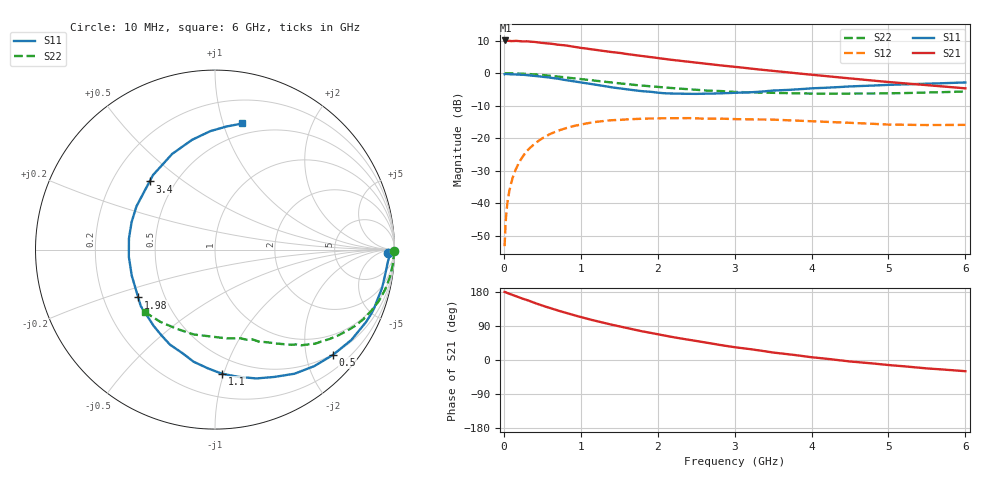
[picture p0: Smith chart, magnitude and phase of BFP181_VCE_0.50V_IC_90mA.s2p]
! Infineon Technologies  Discrete & RF Semiconductors
! BFP181
! VCE = 0.50V,  IC =  90 mA
! Common Emitter S-Parameters:  Jan 2016
# GHz  S  MA  R  50
!  f  S11  S21  S12  S22
! GHz  MAG  ANG  MAG  ANG  MAG  ANG  MAG  ANG
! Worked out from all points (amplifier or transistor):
!   210 points, 10 MHz to 6 GHz, reference 50 ohm
!   highest |S21| = 10.0 dB at 20 MHz (marker M1)
!   |S21| within 3 dB of that: start of sweep to 1.227 GHz
!   unconditionally stable (mu >= 1): 2.757 GHz to end of sweep
!   at 185 MHz: K = 0.08, MSG = 19.0 dB, |S12| = -28.1 dB
!   at 1.52 GHz: K = 0.59, MSG = 10.3 dB, |S12| = -14.3 dB
!   at 6 GHz: K = 1.56, MAG = 1.2 dB, |S12| = -15.9 dB
!   S11 on the Smith chart (normalised r, x): 10 MHz: 42, -19; 500 MHz: 0.48, -2.54; 1.1 GHz: 0.37, -0.99; 1.98 GHz: 0.35, -0.25; 3.4 GHz: 0.36, +0.38; 6 GHz: 0.40, +1.16
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0.01  0.9614 -1.0  3.118 179.6  0.0022 90.4  0.9982 -0.5
0.02  0.9735 -1.9  3.174 179.2  0.0042 87.3  0.9913 -0.8
0.035  0.9692 -3.0  3.161 177.8  0.0076 88.6  0.9936 -1.6
0.06  0.9633 -5.0  3.139 175.7  0.0131 87.6  0.9957 -2.7
0.15  0.955 -12.9  3.135 168.9  0.0322 80.8  0.9902 -6.7
0.3  0.9331 -25.7  3.078 158.4  0.0636 72.8  0.9735 -13.3
0.4  0.9114 -33.5  3.011 150.6  0.0823 67.4  0.9563 -17.5
0.5  0.8809 -41.8  2.904 143.5  0.0996 61.9  0.9351 -21.4
0.6  0.8527 -49.6  2.848 137.1  0.1159 56.7  0.9128 -25.2
0.8  0.7832 -64.9  2.669 124.6  0.1421 47.6  0.8602 -32.0
1.02  0.7153 -80.7  2.428 112.3  0.1642 38.4  0.8051 -38.4
1.1  0.693 -86.7  2.37 107.8  0.1711 35.4  0.7863 -40.5
1.5  0.586 -115.3  2.051 88.5  0.191 22.7  0.6948 -49.5
1.8  0.5278 -135.8  1.827 75.6  0.1996 15.5  0.6445 -54.7
1.98  0.5039 -148.1  1.716 68.6  0.2024 11.6  0.6179 -57.6
2.02  0.4981 -150.8  1.691 67.1  0.2027 10.9  0.6126 -58.1
2.44  0.4803 -177.7  1.476 52.2  0.2031 2.6  0.5622 -65.1
3.1  0.5019 146.6  1.215 31.3  0.1958 -6.2  0.5103 -75.5
3.4  0.5264 133.8  1.112 22.9  0.1935 -9.0  0.5014 -80.6
4.1  0.59 111.5  0.921 5.3  0.1806 -14.8  0.4841 -95.0
5.1  0.6651 90.7  0.714 -14.9  0.1616 -17.7  0.4913 -117.8
6  0.7189 77.8  0.584 -29.6  0.1604 -15.3  0.5237 -138.4
